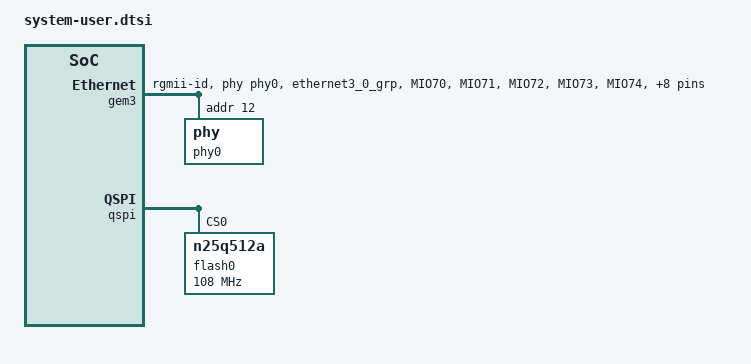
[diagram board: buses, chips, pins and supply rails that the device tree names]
/include/ "system-conf.dtsi"
/ {
};

/* UltraScale: gem3, Zynq: gem0 */
&gem3 {
    status = "okay";
    phy-handle = <&phy0>;
    phy-mode = "rgmii-id";
    pinctrl-names = "default";
    pinctrl-0 = <&pinctrl_gem3_default>;

    /* PHY ADDR: 12 */
    phy0: phy@12 {
        reg = <12>;
        ti,rx-internal-delay = <0x8>;
        ti,tx-internal-delay = <0xa>;
        ti,fifo-depth = <0x1>;
        ti,rxctrl-strap-worka;
    };
};

&pinctrl0 {
    status = "okay";

    pinctrl_gem3_default: gem3-default {
        mux {
            function = "ethernet3";
            groups = "ethernet3_0_grp";
        };

        conf {
            groups = "ethernet3_0_grp";
/*
            slew-rate = <SLEW_RATE_SLOW>;
            io-standard = <IO_STANDARD_LVCMOS18>;
*/
        };

        conf-rx {
            pins = "MIO70", "MIO71", "MIO72", "MIO73", "MIO74", "MIO75";
            bias-high-impedance;
            low-power-disable;
        };

        conf-tx {
            pins = "MIO64", "MIO65", "MIO66", "MIO67", "MIO68", "MIO69";
            bias-disable;
            low-power-enable;
        };

        mux-mdio {
            function = "mdio3";
            groups = "mdio3_0_grp";
        };

        conf-mdio {
            groups = "mdio3_0_grp";
/*
            slew-rate = <SLEW_RATE_SLOW>;
            io-standard = <IO_STANDARD_LVCMOS18>;
*/
            bias-disable;
        };
    };
};


&qspi {
    status = "okay";

    flash0: flash@0 {
        compatible = "n25q512a", "micron,m25p80";
        reg = <0x0>;
        spi-tx-bus-width=<1>;
        spi-rx-bus-width=<4>;
        #address-cells = <1>;
        #size-cells = <1>;
        spi-max-frequency = <108000000>;
    };
};
